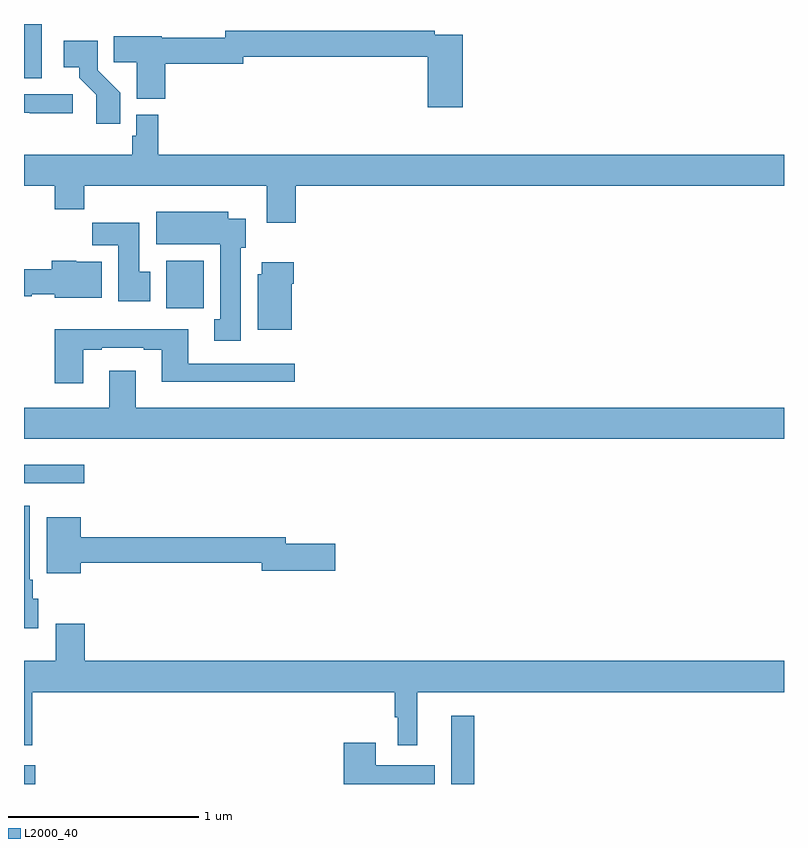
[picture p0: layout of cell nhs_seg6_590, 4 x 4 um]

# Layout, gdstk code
import gdstk
lib = gdstk.Library(unit=1e-6, precision=1e-09)
def R(c, l, rs):  # rectangles x0, y0, x1, y1
    for r in rs: c.add(gdstk.rectangle(r[:2], r[2:], *l))
def P(c, l, *ps):  # polygons
    for p in ps: c.add(gdstk.Polygon(p, *l))
L2000_40 = (2000, 40)

nhs_seg6_590 = lib.new_cell('nhs_seg6_590')
R(nhs_seg6_590, L2000_40, [(147,965.5,147.058,965.599), (149.249,965.5,149.371,965.86), (147,967.083,147.316,967.18), (147.749,968.004,147.945,968.254), (147,969.214,147.094,969.5)])
P(nhs_seg6_590, L2000_40, [(149.309,969.444),(149.162,969.444),(149.162,969.464),(148.059,969.464),(148.059,969.428),(147.726,969.428),(147.726,969.436),(147.472,969.436),(147.472,969.298),(147.593,969.298),(147.593,969.107),(147.743,969.107),(147.743,969.292),(148.155,969.292),(148.155,969.328),(149.126,969.328),(149.126,969.063),(149.309,969.063)],
  [(147.506,969.138),(147.387,969.257),(147.387,969.412),(147.21,969.412),(147.21,969.272),(147.29,969.272),(147.29,969.217),(147.381,969.127),(147.381,968.976),(147.506,968.976)],
  [(147.256,969.129),(147,969.129),(147,969.033),(147.031,969.033),(147.031,969.031),(147.256,969.031)],
  [(148.43,968.648),(151,968.648),(151,968.812),(147.707,968.812),(147.707,969.022),(147.591,969.022),(147.591,968.913),(147.571,968.913),(147.571,968.812),(147,968.812),(147,968.648),(147.161,968.648),(147.161,968.524),(147.317,968.524),(147.317,968.648),(148.277,968.648),(148.277,968.454),(148.43,968.454)],
  [(148.141,968.322),(148.168,968.322),(148.168,968.476),(148.075,968.476),(148.075,968.512),(147.695,968.512),(147.695,968.342),(148.034,968.342),(148.034,967.945),(148.001,967.945),(148.001,967.833),(148.141,967.833)],
  [(147.664,968.196),(147.607,968.196),(147.607,968.454),(147.358,968.454),(147.358,968.336),(147.497,968.336),(147.497,968.04),(147.664,968.04)],
  [(147.409,968.248),(147.276,968.248),(147.276,968.254),(147.146,968.254),(147.146,968.208),(147,968.208),(147,968.066),(147.042,968.066),(147.042,968.078),(147.162,968.078),(147.162,968.06),(147.409,968.06)],
  [(148.408,968.132),(148.421,968.132),(148.421,968.245),(148.25,968.245),(148.25,968.184),(148.229,968.184),(148.229,967.892),(148.408,967.892)],
  [(147.313,967.785),(147.409,967.785),(147.409,967.797),(147.629,967.797),(147.629,967.785),(147.725,967.785),(147.725,967.616),(148.426,967.616),(148.426,967.713),(147.865,967.713),(147.865,967.894),(147.161,967.894),(147.161,967.608),(147.313,967.608)],
  [(151,967.48),(147.589,967.48),(147.589,967.675),(147.449,967.675),(147.449,967.48),(147,967.48),(147,967.316),(151,967.316)],
  [(147.076,966.474),(147.046,966.474),(147.046,966.574),(147.031,966.574),(147.031,966.964),(147,966.964),(147,966.32),(147.076,966.32)],
  [(147.298,966.664),(148.25,966.664),(148.25,966.622),(148.639,966.622),(148.639,966.764),(148.378,966.764),(148.378,966.8),(147.298,966.8),(147.298,966.904),(147.119,966.904),(147.119,966.608),(147.298,966.608)],
  [(147.043,965.984),(148.95,965.984),(148.95,965.852),(148.967,965.852),(148.967,965.703),(149.071,965.703),(149.071,965.984),(151,965.984),(151,966.148),(147.32,966.148),(147.32,966.343),(147.167,966.343),(147.167,966.148),(147,966.148),(147,965.703),(147.043,965.703)],
  [(149.161,965.599),(148.852,965.599),(148.852,965.716),(148.682,965.716),(148.682,965.5),(149.161,965.5)])

lib.write_gds('nhs_seg6_590.gds')
